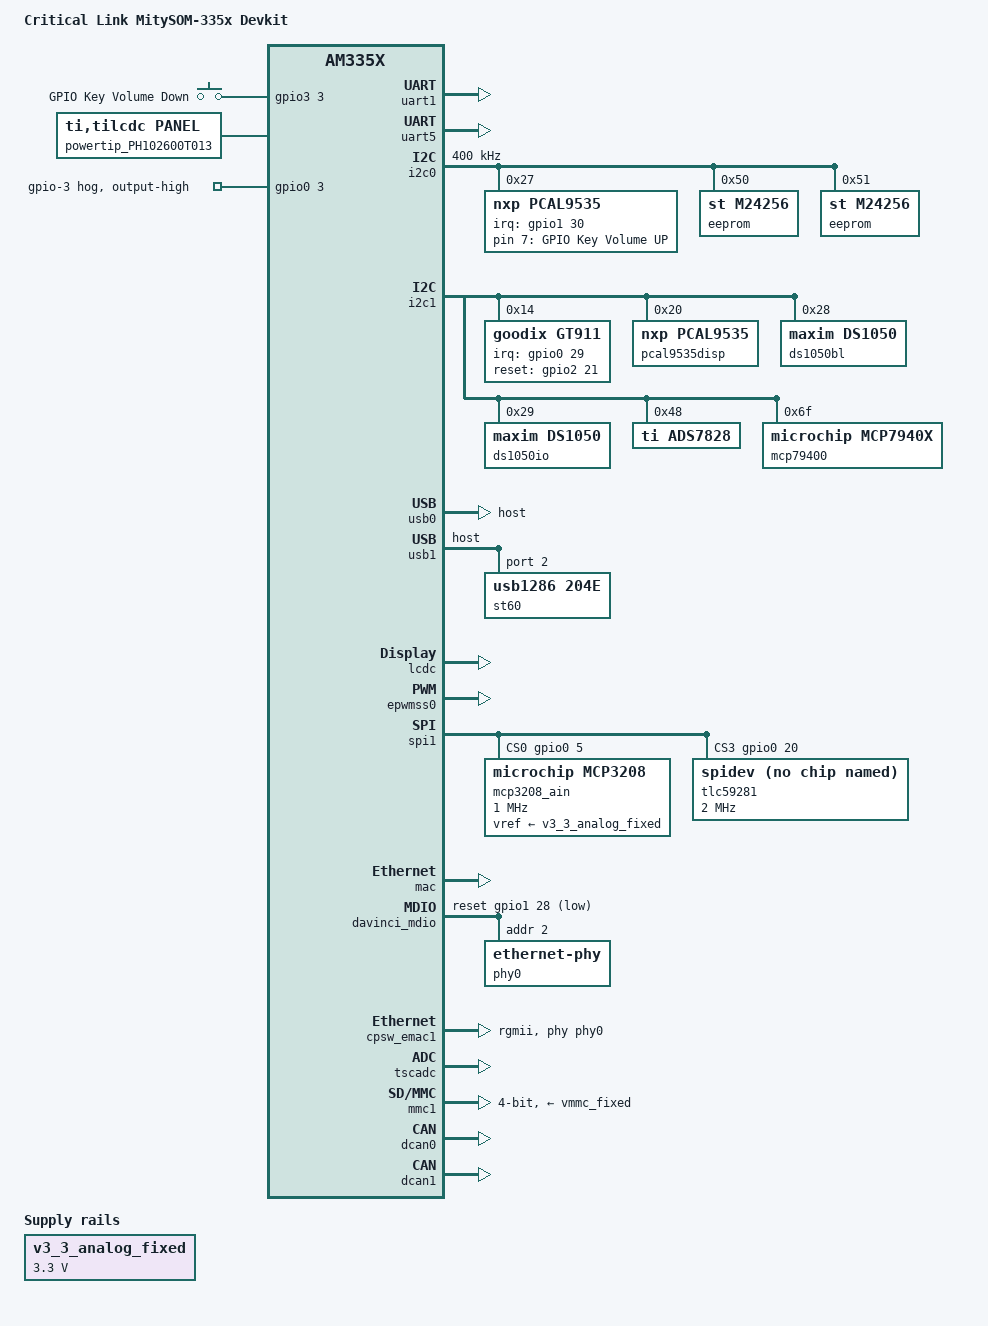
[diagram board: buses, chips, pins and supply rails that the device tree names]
/*
 * Copyright (C) 2012 Texas Instruments Incorporated - http://www.ti.com/
 *
 * This program is free software; you can redistribute it and/or modify
 * it under the terms of the GNU General Public License version 2 as
 * published by the Free Software Foundation.
 */
/dts-v1/;

#include "am335x-mitysom-common.dtsi"

/ {
	model = "Critical Link MitySOM-335x Devkit";

	/* Disable backlight driver, use GPIO Instead
	backlight: backlight {
		compatible = "pwm-backlight";
		pwms = <&ehrpwm0 1 50000 0>;
		brightness-levels = <0 51 53 56 62 75 101 152 255>;
		default-brightness-level = <8>;
	};

	*/

	gpio-keys {
		compatible = "gpio-keys";

		volumedown {
			label = "GPIO Key Volume Down";
			linux,code = <114>; /* KEY_VOLUMEDOWN */
			gpios = <&gpio3 3 GPIO_ACTIVE_HIGH>; /* CLEAR BUTTON */
		};

		volumeup {
			label = "GPIO Key Volume UP";
			linux,code = <115>; /* KEY_VOLUMEUP */
			gpios = <&pcal9535 7 GPIO_ACTIVE_HIGH>; /* Extended P0_7 */
		};
	};

	powertip_PH102600T013: lcd-controller@1 {
		compatible = "ti,tilcdc,panel";
		pinctrl-names = "default", "sleep";
		pinctrl-0 = <&lcd_pins_default>;
		pinctrl-1 = <&lcd_pins_sleep>;
		status = "okay";
		model = "powertip,PH102600T013";

		/*backlight = <&backlight>;*/
		// enable-gpios = <&gpio3 8 GPIO_ACTIVE_HIGH>;

		panel-info {
			ac-bias           = <255>;
			ac-bias-intrpt    = <0>;
			dma-burst-sz      = <16>;
			bpp               = <32>;
			fdd               = <0x80>;
			sync-edge         = <0>;
			sync-ctrl         = <1>;
			raster-order      = <0>;
			fifo-th           = <0>;
			invert-pxl-clk    = <1>;
		};
		display-timings {
			1024x600 {
				clock-frequency = <51200000>;
				hactive = <1024>;
				vactive = <600>;
				hsync-len = <30>;
				hfront-porch = <160>;
				hback-porch = <160>;
				vsync-len = <6>;
				vfront-porch = <12>;
				vback-porch = <23>;
				hsync-active = <1>;
				vsync-active = <1>;
			};
		};
	};
};

&am33xx_pinmux {
	pinctrl-names = "default";
	pinctrl-0 = <&gpio_pins &ehrpwm0_pins &ecap_pins>;

	i2c0_pins: pinmux_i2c0_pins {
		pinctrl-single,pins = <
			AM33XX_IOPAD(0x988, PIN_INPUT_PULLUP | MUX_MODE0)	/* i2c0_sda.i2c0_sda external pullup */
			AM33XX_IOPAD(0x98C, PIN_INPUT_PULLUP | MUX_MODE0)	/* i2c0_scl.i2c0_scl external pullup */
		>;
	};

	dcan0_pins_default: dcan0_pins_default {
		pinctrl-single,pins = <
			AM33XX_IOPAD(0x91C, PIN_OUTPUT | MUX_MODE1) 		/* mii1_txd3.d_can0_tx */
			AM33XX_IOPAD(0x920, PIN_INPUT_PULLDOWN | MUX_MODE1) /* mii1_txd2.d_can1_rxd */
		>;
	};

	dcan1_pins_default: dcan1_pins_default {
		pinctrl-single,pins = <
			AM33XX_IOPAD(0x968, PIN_OUTPUT | MUX_MODE2) 		/* uart0_ctsn.dcan1_txd */
			AM33XX_IOPAD(0x96c, PIN_INPUT_PULLDOWN | MUX_MODE2) /* uart0_rtsn.dcan1_rxd */
		>;
	};

	/* MODBUS 1 */
	uart1_pins: pinmux_uart1_pins {
		pinctrl-single,pins = <
			AM33XX_IOPAD(0x958, PIN_INPUT_PULLDOWN | MUX_MODE7)	/* spi0_d1.gpio0_4 UART1_DIR */
			AM33XX_IOPAD(0x980, PIN_INPUT_PULLUP | MUX_MODE0)	/* uart1_rxd.uart1_rxd UART1_RX */
			AM33XX_IOPAD(0x984, PIN_OUTPUT_PULLDOWN | MUX_MODE0)	/* uart1_txd.uart1_txd UART1_TX */
		>;
	};

	/* MODBUS 2 */
	uart5_pins: pinmux_uart5_pins {
		pinctrl-single,pins = <
			AM33XX_IOPAD(0x928, PIN_INPUT_PULLDOWN | MUX_MODE7)	/* mii1_txd0.gpio0_28 UART5_DIR */
			AM33XX_IOPAD(0x908, PIN_INPUT_PULLUP | MUX_MODE3)	/* mii1_col..uart5_rxd UART4_RXD */
			AM33XX_IOPAD(0x918, PIN_OUTPUT_PULLDOWN | MUX_MODE3)	/* mii1_rxdv.uart5_txd UART4_TXD */
		>;
	};

	ehrpwm0_pins: ehrpwm0_pins {
		pinctrl-single,pins = <
			AM33XX_IOPAD(0x950, PIN_OUTPUT | MUX_MODE3)		/* spi0_sclk.ehrpwm0a Buzzer */
		>;
	};
	
	
	/* Conflicts with SPINOR SOMs */
	spi1_pins: pinmux_spi1_pins {
		pinctrl-single,pins = <
			AM33XX_IOPAD(0x95c, PIN_OUTPUT | MUX_MODE7)		/* spi0_cs0.gpio0_5 SPI1_CS0 external pullup */
			AM33XX_IOPAD(0x990, PIN_INPUT | MUX_MODE3)		/* mcasp0_aclkx.spi1_sclk */
			AM33XX_IOPAD(0x994, PIN_INPUT_PULLUP | MUX_MODE3)	/* mcasp0_fsx.spi1_d0 MOSI */
			AM33XX_IOPAD(0x998, PIN_INPUT | MUX_MODE3)		/* mcasp0_axr0.spi1_d1 MISO external pullup */
			AM33XX_IOPAD(0x99C, PIN_INPUT_PULLUP | MUX_MODE3)	/* mcasp0_ahclkr.spi1_cs0 SOM:CS0 */
			AM33XX_IOPAD(0x9B4, PIN_INPUT | MUX_MODE7)      	/* xdma_event_intr1.gpio0_20 7SEG_CS J16.48 external pullup */
		>;
	};

	cpsw_default: cpsw_default {
		pinctrl-single,pins = <
			/* Slave 1 - Removed in rev 12*/

			/* Slave 2 */
			AM33XX_IOPAD(0x840, PIN_OUTPUT | MUX_MODE2)		/* gpmc_a0.rgmii2_tctl */
			AM33XX_IOPAD(0x844, PIN_INPUT_PULLDOWN | MUX_MODE2)	/* gpmc_a1.rgmii2_rctl */
			AM33XX_IOPAD(0x848, PIN_OUTPUT | MUX_MODE2)		/* gpmc_a2.rgmii2_td3  */
			AM33XX_IOPAD(0x84C, PIN_OUTPUT | MUX_MODE2)		/* gpmc_a3.rgmii2_td2  */
			AM33XX_IOPAD(0x850, PIN_OUTPUT | MUX_MODE2)		/* gpmc_a4.rgmii2_td1  */
			AM33XX_IOPAD(0x854, PIN_OUTPUT | MUX_MODE2)		/* gpmc_a5.rgmii2_td0  */
			AM33XX_IOPAD(0x858, PIN_OUTPUT | MUX_MODE2)		/* gpmc_a6.rgmii2_tclk */
			AM33XX_IOPAD(0x85C, PIN_INPUT_PULLDOWN | MUX_MODE2)	/* gpmc_a7.rgmii2_rclk */
			AM33XX_IOPAD(0x860, PIN_INPUT_PULLDOWN | MUX_MODE2)	/* gpmc_a8.rgmii2_rd3  */
			AM33XX_IOPAD(0x864, PIN_INPUT_PULLDOWN | MUX_MODE2)	/* gpmc_a9.rgmii2_rd2  */
			AM33XX_IOPAD(0x868, PIN_INPUT_PULLDOWN | MUX_MODE2)	/* gpmc_a10.rgmii2_rd1 */
			AM33XX_IOPAD(0x86C, PIN_INPUT_PULLDOWN | MUX_MODE2)	/* gpmc_a11.rgmii2_rd0 */
			AM33XX_IOPAD(0x88c, PIN_INPUT | MUX_MODE7)		/* gpmc_clk.gpio2_1 MII2_PHY_INTN external pullup */
			AM33XX_IOPAD(0x878, PIN_INPUT_PULLUP | MUX_MODE7)	/* gpmc_ben1.gpio1_28 MII2_RESETN */
		>;
	};

	davinci_mdio_default: davinci_mdio_default {
		pinctrl-single,pins = <
			/* MDIO */
			AM33XX_IOPAD(0x948, PIN_INPUT_PULLUP | SLEWCTRL_FAST| MUX_MODE0)	/* mdio_data.mdio_data */
			AM33XX_IOPAD(0x94C, PIN_OUTPUT_PULLUP | MUX_MODE0)			/* mdio_clk.mdio_clk */
		>;
	};

	davinci_mdio_sleep: davinci_mdio_sleep {
		pinctrl-single,pins = <
			/* MDIO reset value */
			AM33XX_IOPAD(0x948, PIN_INPUT_PULLDOWN | MUX_MODE7)
			AM33XX_IOPAD(0x94C, PIN_INPUT_PULLDOWN | MUX_MODE7)
		>;
	};

	/* Setup for MMC0 */
	mmc1_pins_default: pinmux_mmc1_pins {
		pinctrl-single,pins = <
			AM33XX_IOPAD(0x8F0, PIN_INPUT_PULLUP | MUX_MODE0)	/* mmc0_dat3.mmc0_dat3 */
			AM33XX_IOPAD(0x8F4, PIN_INPUT_PULLUP | MUX_MODE0)	/* mmc0_dat2.mmc0_dat2 */
			AM33XX_IOPAD(0x8F8, PIN_INPUT_PULLUP | MUX_MODE0)	/* mmc0_dat1.mmc0_dat1 */
			AM33XX_IOPAD(0x8FC, PIN_INPUT_PULLUP | MUX_MODE0)	/* mmc0_dat0.mmc0_dat0 */
			AM33XX_IOPAD(0x900, PIN_INPUT_PULLUP | MUX_MODE0)	/* mmc0_clk.mmc0_clk */
			AM33XX_IOPAD(0x904, PIN_INPUT_PULLUP | MUX_MODE0)	/* mmc0_cmd.mmc0_cmd */
		>;
	};

	lcd_pins_default: lcd_pins_default {
		pinctrl-single,pins = <
			AM33XX_IOPAD(0x8A0, PIN_OUTPUT | MUX_MODE0)		/* lcd_data0.lcd_data0 */
			AM33XX_IOPAD(0x8A4, PIN_OUTPUT | MUX_MODE0)		/* lcd_data1.lcd_data1 */
			AM33XX_IOPAD(0x8A8, PIN_OUTPUT | MUX_MODE0)		/* lcd_data2.lcd_data2 */
			AM33XX_IOPAD(0x8AC, PIN_OUTPUT | MUX_MODE0)		/* lcd_data3.lcd_data3 */
			AM33XX_IOPAD(0x8B0, PIN_OUTPUT | MUX_MODE0)		/* lcd_data4.lcd_data4 */
			AM33XX_IOPAD(0x8B4, PIN_OUTPUT | MUX_MODE0)		/* lcd_data5.lcd_data5 */
			AM33XX_IOPAD(0x8B8, PIN_OUTPUT | MUX_MODE0)		/* lcd_data6.lcd_data6 */
			AM33XX_IOPAD(0x8BC, PIN_OUTPUT | MUX_MODE0)		/* lcd_data7.lcd_data7 */
			AM33XX_IOPAD(0x8C0, PIN_OUTPUT | MUX_MODE0)		/* lcd_data8.lcd_data8 */
			AM33XX_IOPAD(0x8C4, PIN_OUTPUT | MUX_MODE0)		/* lcd_data9.lcd_data9 */
			AM33XX_IOPAD(0x8C8, PIN_OUTPUT | MUX_MODE0)		/* lcd_data10.lcd_data10 */
			AM33XX_IOPAD(0x8CC, PIN_OUTPUT | MUX_MODE0)		/* lcd_data11.lcd_data11 */
			AM33XX_IOPAD(0x8D0, PIN_OUTPUT | MUX_MODE0)		/* lcd_data12.lcd_data12 */
			AM33XX_IOPAD(0x8D4, PIN_OUTPUT | MUX_MODE0)		/* lcd_data13.lcd_data13 */
			AM33XX_IOPAD(0x8D8, PIN_OUTPUT | MUX_MODE0)		/* lcd_data14.lcd_data14 */
			AM33XX_IOPAD(0x8DC, PIN_OUTPUT | MUX_MODE0)		/* lcd_data15.lcd_data15 */
			AM33XX_IOPAD(0x820, PIN_OUTPUT | MUX_MODE1)		/* gpmc_ad8.lcd_data16 */
			AM33XX_IOPAD(0x824, PIN_OUTPUT | MUX_MODE1)		/* gpmc_ad9.lcd_data17 */
			AM33XX_IOPAD(0x828, PIN_OUTPUT | MUX_MODE1)		/* gpmc_ad10.lcd_data18 */
			AM33XX_IOPAD(0x82C, PIN_OUTPUT | MUX_MODE1)		/* gpmc_ad11.lcd_data19 */
			AM33XX_IOPAD(0x830, PIN_OUTPUT | MUX_MODE1)		/* gpmc_ad12.lcd_data20 */
			AM33XX_IOPAD(0x834, PIN_OUTPUT | MUX_MODE1)		/* gpmc_ad13.lcd_data21 */
			AM33XX_IOPAD(0x838, PIN_OUTPUT | MUX_MODE1)		/* gpmc_ad14.lcd_data22 */
			AM33XX_IOPAD(0x83C, PIN_OUTPUT | MUX_MODE1)		/* gpmc_ad15.lcd_data23 */
			AM33XX_IOPAD(0x8E0, PIN_OUTPUT_PULLDOWN | MUX_MODE0)	/* lcd_vsync.lcd_vsync */
			AM33XX_IOPAD(0x8E4, PIN_OUTPUT_PULLDOWN | MUX_MODE0)	/* lcd_hsync.lcd_hsync */
			AM33XX_IOPAD(0x8E8, PIN_OUTPUT_PULLDOWN | MUX_MODE0)	/* lcd_pclk.lcd_pclk */
			AM33XX_IOPAD(0x8EC, PIN_OUTPUT_PULLDOWN | MUX_MODE0)	/* lcd_ac_bias_en.lcd_ac_bias_en */
		>;
	};

	lcd_pins_sleep: lcd_pins_sleep {
		pinctrl-single,pins = <
			AM33XX_IOPAD(0x8A0, PULL_DISABLE | MUX_MODE7)		/* lcd_data0.lcd_data0 */
			AM33XX_IOPAD(0x8A4, PULL_DISABLE | MUX_MODE7)		/* lcd_data1.lcd_data1 */
			AM33XX_IOPAD(0x8A8, PULL_DISABLE | MUX_MODE7)		/* lcd_data2.lcd_data2 */
			AM33XX_IOPAD(0x8AC, PULL_DISABLE | MUX_MODE7)		/* lcd_data3.lcd_data3 */
			AM33XX_IOPAD(0x8B0, PULL_DISABLE | MUX_MODE7)		/* lcd_data4.lcd_data4 */
			AM33XX_IOPAD(0x8B4, PULL_DISABLE | MUX_MODE7)		/* lcd_data5.lcd_data5 */
			AM33XX_IOPAD(0x8B8, PULL_DISABLE | MUX_MODE7)		/* lcd_data6.lcd_data6 */
			AM33XX_IOPAD(0x8BC, PULL_DISABLE | MUX_MODE7)		/* lcd_data7.lcd_data7 */
			AM33XX_IOPAD(0x8C0, PULL_DISABLE | MUX_MODE7)		/* lcd_data8.lcd_data8 */
			AM33XX_IOPAD(0x8C4, PULL_DISABLE | MUX_MODE7)		/* lcd_data9.lcd_data9 */
			AM33XX_IOPAD(0x8C8, PULL_DISABLE | MUX_MODE7)		/* lcd_data10.lcd_data10 */
			AM33XX_IOPAD(0x8CC, PULL_DISABLE | MUX_MODE7)		/* lcd_data11.lcd_data11 */
			AM33XX_IOPAD(0x8D0, PULL_DISABLE | MUX_MODE7)		/* lcd_data12.lcd_data12 */
			AM33XX_IOPAD(0x8D4, PULL_DISABLE | MUX_MODE7)		/* lcd_data13.lcd_data13 */
			AM33XX_IOPAD(0x8D8, PULL_DISABLE | MUX_MODE7)		/* lcd_data14.lcd_data14 */
			AM33XX_IOPAD(0x8DC, PULL_DISABLE | MUX_MODE7)		/* lcd_data15.lcd_data15 */
			AM33XX_IOPAD(0x820, PULL_DISABLE | MUX_MODE7)		/* gpmc_ad8.lcd_data16 */
			AM33XX_IOPAD(0x824, PULL_DISABLE | MUX_MODE7)		/* gpmc_ad9.lcd_data17 */
			AM33XX_IOPAD(0x828, PULL_DISABLE | MUX_MODE7)		/* gpmc_ad10.lcd_data18 */
			AM33XX_IOPAD(0x82C, PULL_DISABLE | MUX_MODE7)		/* gpmc_ad11.lcd_data19 */
			AM33XX_IOPAD(0x830, PULL_DISABLE | MUX_MODE7)		/* gpmc_ad12.lcd_data20 */
			AM33XX_IOPAD(0x834, PULL_DISABLE | MUX_MODE7)		/* gpmc_ad13.lcd_data21 */
			AM33XX_IOPAD(0x838, PULL_DISABLE | MUX_MODE7)		/* gpmc_ad14.lcd_data22 */
			AM33XX_IOPAD(0x83C, PULL_DISABLE | MUX_MODE7)		/* gpmc_ad15.lcd_data23 */
			AM33XX_IOPAD(0x8E0, PIN_INPUT_PULLDOWN | MUX_MODE7)	/* lcd_vsync.lcd_vsync */
			AM33XX_IOPAD(0x8E4, PIN_INPUT_PULLDOWN | MUX_MODE7)	/* lcd_hsync.lcd_hsync */
			AM33XX_IOPAD(0x8E8, PIN_INPUT_PULLDOWN | MUX_MODE7)	/* lcd_pclk.lcd_pclk */
			AM33XX_IOPAD(0x8EC, PIN_INPUT_PULLDOWN | MUX_MODE7)	/* lcd_ac_bias_en.lcd_ac_bias_en */
		>;
	};

	ecap_pins: ecap_pins {
		pinctrl-single,pins = <
			AM33XX_IOPAD(0x964, PIN_INPUT | MUX_MODE0)		/* ecap0_in_pwm0_out.ecap0_in_pwm0_out ECAP J11.6 external pulldown*/
		>;
	};

	gpio_pins: gpio_pins {
		pinctrl-single,pins = <
			AM33XX_IOPAD(0x880, PIN_INPUT_PULLUP | MUX_MODE7)              /* gpmc_csn1.gpio1_30 IO_Expand_INTn external pullup */
			AM33XX_IOPAD(0x914, PIN_INPUT_PULLUP | MUX_MODE7)		/* rmii1_txen.gpio3_3 CLEAR_Button  external pullup */
			AM33XX_IOPAD(0x924, PIN_INPUT_PULLDOWN | MUX_MODE7)		/* rmii1_txd1.gpio0_21 J19.8 */
			AM33XX_IOPAD(0x92C, PIN_INPUT_PULLDOWN | MUX_MODE7)		/* rmii1_txclk.gpio3_9 PROXIMITY */
			AM33XX_IOPAD(0x930, PIN_INPUT_PULLDOWN | MUX_MODE7)		/* rmii1_rxclk.gpio3_10 J19.5 */
			AM33XX_IOPAD(0x934, PIN_INPUT_PULLDOWN | MUX_MODE7)		/* rmii1_rxd3.gpio2_18 J19.7 */
			AM33XX_IOPAD(0x944, PIN_INPUT | MUX_MODE7)		/* rmii1_refclk.gpio0_29 TS_INT external pullup */
			AM33XX_IOPAD(0x960, PIN_INPUT | MUX_MODE7)		/* spi0_cs1.gpio0_6 Brown_Out */
			AM33XX_IOPAD(0x9A0, PIN_INPUT_PULLDOWN | MUX_MODE7)	/* mcasp0_aclkr.gpio3_18 RTD_A1 */
			AM33XX_IOPAD(0x9A4, PIN_INPUT_PULLDOWN | MUX_MODE7) 	/* mcasp0_fsr.gpio3_19 RTD_A0 */
			AM33XX_IOPAD(0x9A8, PIN_INPUT_PULLDOWN | MUX_MODE7) 	/* mcasp0_axr1.gpio3_20 RTD_A3 */
			AM33XX_IOPAD(0x9AC, PIN_INPUT_PULLDOWN | MUX_MODE7) 	/* mcasp0_ahclkx.gpio3_21 RTD_A2 */
			AM33XX_IOPAD(0x9B0, PIN_INPUT_PULLDOWN | MUX_MODE7) 	/* xdma_event_intr0.gpio0_19 7SEG_OFF J16.47 */
			AM33XX_IOPAD(0x9E4, PIN_INPUT_PULLDOWN | MUX_MODE7)		/* emu0.gpio3_7 J19.9 */
			AM33XX_IOPAD(0x9E8, PIN_INPUT_PULLDOWN | MUX_MODE7)		/* emu1.gpio3_8 J19.6 */
			AM33XX_IOPAD(0x940, PIN_INPUT | MUX_MODE7)		/* mii1_rxd0.gpio2_21 TOUCH_RESET J16.30 */
			AM33XX_IOPAD(0xA1C, PIN_INPUT | MUX_MODE7)		/* usb0_drvvbus.gpio0_18 Hub_Reset external pullup */
			AM33XX_IOPAD(0xA34, PIN_INPUT | MUX_MODE7)		/* usb1_drvvbus.gpio3_13 WIFI_PMU external pullup */
		>;
	};
};

/* Name the gpios so they can be referenced by name */
&gpio0 {
	gpio-line-names =
		"GPIO0_0", "GPIO0_1", "GPIO0_2", "BACKLIGHT",
		"GPIO0_4", "GPIO0_5", "BROWN_OUT", "GPIO0_7",
		"GPIO0_8", "GPIO0_9", "GPIO0_10", "GPIO0_11",
		"GPIO0_12", "GPIO0_13", "GPIO0_14", "GPIO0_15",
		"GPIO0_16", "GPIO0_17", "HUB_RESET", "7SEG_EN",
		"GPIO0_20", "GPIO0_21", "GPIO0_22", "GPIO0_23",
		"GPIO0_24", "GPIO0_25", "GPIO0_26", "GPIO0_27",
		"GPIO0_28", "GPIO0_29", "GPIO0_30", "GPIO0_31";
	gpio-3 {
		gpio-hog;
		gpios = <3 GPIO_ACTIVE_HIGH>;
		output-high;
	};
};

&gpio1 {
	gpio-line-names =
		"GPIO1_0", "GPIO1_1", "GPIO1_2", "GPIO1_3",
		"GPIO1_4", "GPIO1_5", "GPIO1_6", "GPIO1_7",
		"GPIO1_8", "GPIO1_9", "GPIO1_10", "GPIO1_11",
		"GPIO1_12", "GPIO1_13", "GPIO1_14", "GPIO1_15",
		"GPIO1_16", "GPIO1_17", "GPIO1_18", "GPIO1_19",
		"GPIO1_20", "GPIO1_21", "GPIO1_22", "GPIO1_23",
		"GPIO1_24", "GPIO1_25", "GPIO1_26", "GPIO1_27",
		"GPIO1_28", "GPIO1_29", "GPIO1_30", "GPIO1_31";
};

&gpio2 {
	gpio-line-names =
		"GPIO2_0", "GPIO2_1", "GPIO2_2", "GPIO2_3",
		"GPIO2_4", "GPIO2_5", "GPIO2_6", "GPIO2_7",
		"GPIO2_8", "GPIO2_9", "GPIO2_10", "GPIO2_11",
		"GPIO2_12", "GPIO2_13", "GPIO2_14", "GPIO2_15",
		"GPIO2_16", "GPIO2_17", "Aux_PWM_Enable", "GPIO2_19",
		"GPIO2_20", "GPIO2_21", "GPIO2_22", "GPIO2_23",
		"GPIO2_24", "GPIO2_25", "GPIO2_26", "GPIO2_27",
		"GPIO2_28", "GPIO2_29", "GPIO2_30", "GPIO2_31";
};

&gpio3 {
	gpio-line-names =
		"GPIO3_0", "GPIO3_1", "GPIO3_2", "CLEAR_BUTTON",
		"GPIO3_4", "GPIO3_5", "GPIO3_6", "POWER_SWITCH_N",
		"GPIO3_8", "GPIO3_9", "GPIO3_10", "GPIO3_11",
		"GPIO3_12", "WIFI_PMU", "GPIO3_14", "GPIO3_15",
		"GPIO3_16", "GPIO3_17", "RTD_A1", "RTD_A0",
		"RTD_A3", "RTD_A2", "GPIO3_22", "GPIO3_23",
		"GPIO3_24", "GPIO3_25", "GPIO3_26", "GPIO3_27",
		"GPIO3_28", "GPIO3_29", "GPIO3_30", "GPIO3_31";
};


/* RS485 MODBUS 1 */
&uart1 {
	pinctrl-names = "default";
	pinctrl-0 = <&uart1_pins>;
	rts-gpio = <&gpio0 4 GPIO_ACTIVE_HIGH>;
	rs485-rts-delay =<0 0>;
	rs485-rts-active-high;
	/*rs485-rx-during-tx;*/
	linux,rs485-enabled-at-boot-time;
	status = "okay";
};

/* RS485 MODBUS 2 */
&uart5 {
	pinctrl-names = "default";
	pinctrl-0 = <&uart5_pins>;
	rts-gpio = <&gpio0 28 GPIO_ACTIVE_HIGH>;
	rs485-rts-delay =<0 0>;
	rs485-rts-active-high;
	/*rs485-rx-during-tx;*/
	linux,rs485-enabled-at-boot-time;
	status = "okay";
};


&i2c0 {
	pinctrl-names = "default";
	pinctrl-0 = <&i2c0_pins>;

	status = "okay";
	clock-frequency = <400000>;

	/* PCAL9535A 16-bit GPIO expander 0x27 */
	pcal9535: pcal9535@27 {
		compatible = "nxp,pcal9535";
		reg = <0x27>;
		gpio-controller;
		interrupt-parent = <&gpio1>;
		interrupts = <30 IRQ_TYPE_EDGE_FALLING>; /* gpio1_30 */
		#interrupt-cells = <2>;
		#gpio-cells = <2>;
		gpio-line-names =
		"RELAY_0", "RELAY_1", "RELAY_2", "RELAY_3",
		"DIGITAL_IN_8", "DIGITAL_IN_7", "DIGITAL_IN_6", "DIGITAL_IN_5",
		"OVERTEMP_IN", "ENABLE/DISABLE", "DIGITAL_IN_4", "DIGITAL_IN_3",
		"DIGITAL_IN_2", "DIGITAL_IN_1", "RELAY_4", "RELAY_5";
	};

	/* ADS1110 - 16-Bit ADC RTD_IN 0x4A */

	eeprom@50 {
		compatible = "st,m24256", "st,24c256", "atmel,24c256";
		reg = <0x50>;
		pagesize = <64>;
	};

	eeprom@51 {
		compatible = "st,m24256", "st,24c256", "atmel,24c256";
		reg = <0x51>;
		pagesize = <64>;
	};

	/* MCP4728 12-bit Quad DAC 0x60 */
};

&i2c1 {
	/* SOM PMIC SmartReflex 0x12 */

	/* GT911 TSC 0x14 */
	gt911@14 {
		compatible = "goodix,gt911";
		reg = <0x14>;
		interrupt-parent = <&gpio0>;
		interrupts = <29 IRQ_TYPE_EDGE_FALLING>;

		irq-gpios = <&gpio0 29 GPIO_ACTIVE_HIGH>;
		reset-gpios = <&gpio2 21 GPIO_ACTIVE_HIGH>;
		// touchscreen-swapped-x-y;
	};

	/* Display Board PCAL9535A 16-bit GPIO expander 0x20 */
	pcal9535disp: pcal9535disp@20 {
		compatible = "nxp,pcal9535";
		reg = <0x20>;
		gpio-controller;
		#gpio-cells = <2>;
		gpio-line-names =
		"", "", "", "",
		"", "", "", "",
		"", "", "DEMAND", "MANAGER",
		"CASCADE", "BAS", "onAER", "FAULT CLR";
	};

	/* Backlight PWM */
	ds1050bl: ds1050z@28 {
		compatible = "maxim,ds1050";
		reg = <0x28>;
	};

	/* IO PWM */
	ds1050io: ds1050z@29 {
		/* GPIO 2_18 Aux_PWM_Enable */
		compatible = "maxim,ds1050";
		reg = <0x29>;
	};


	/* System Voltage Monitor 0x48 */
	ads7828: ads7828@48 {
		compatible = "ti,ads7828";
		reg = <0x48>;
	};

	/* SOM Factory EEPROM 0x50 - 0x57 */

	/* MCP7940N RTC 0x6F */
	mcp79400: mcp79400@6f {
		compatible = "microchip,mcp7940x";
		reg = <0x6f>;
	};

	/* MCP4728 12-bit Quad DAC 0x60 */
};

&usb0 {
	status = "okay";
	dr_mode = "host";
};

&usb1 {
	status = "okay";
	dr_mode = "host";

	/* Laird Wifi */
	st60@2{
		compatible = "usb1286,204e";
		reg = <2>;
		#address-cells = <2>;
		#size-cells = <0>;

		wifi@2 {
			compatible = "usbif1286,204e.config1.2";
			reg = <2 1>;
			pmu-en-gpios = <&gpio3 13 GPIO_ACTIVE_HIGH>;
		};
	};
};

&lcdc {
	status = "okay";

	/* If you want to get 24 bit RGB and 16 BGR mode instead of
	 * current 16 bit RGB and 24 BGR modes, set the propety
	 * below to "crossed" and uncomment the video-ports -property
	 * in tda19988 node.
	 * AM335x errata for wiring:
	 * http://www.ti.com/lit/er/sprz360i/sprz360i.pdf
	 */

	blue-and-red-wiring = "crossed";
};

&epwmss0 {
	status = "okay";

	ehrpwm0: pwm@48300200 {
		status = "okay";
	};
	ecap0: ecap@48300100 {
		compatible = "ti,am62-ecap-capture";
		status = "okay";
	};
};

/ {
	v3_3_analog_fixed: fixedregulator@2 {
		compatible = "regulator-fixed";
		regulator-name = "v3.3_analog_fixed";
		regulator-min-microvolt = <3300000>;
		regulator-max-microvolt = <3300000>;
		regulator-boot-on;
	};
};

&spi1 {
	pinctrl-names = "default";
	pinctrl-0 = <&spi1_pins>;
	/* Not supported: CS0 On-SOM NOR */

	/* Note: spi1 crashes when using more than 4 channels */
	cs-gpios = <&gpio0 5 GPIO_ACTIVE_HIGH>, <0>, <0>, <&gpio0 20 GPIO_ACTIVE_HIGH>;

	/* SPI1_CS0 - gpio1_15 MCP3208 */
	mcp3208_ain@0 {
		compatible = "microchip,mcp3208";
		reg = <0>;
		spi-max-frequency = <1000000>;
		vref-supply = <&v3_3_analog_fixed>;

		/* channels = "AIN1", "AIN2", "AIN3", "AIN4"; */
	};

	/* 7SEG_CS - gpio0_20 */
	tlc59281: tlc59281@3 {
		compatible = "spidev";
		reg = <3>;
		status = "okay";

		spi-max-frequency = <2000000>;
	};
};

&mac {
	pinctrl-names = "default";
	pinctrl-0 = <&cpsw_default>;
	status = "okay";
};

&davinci_mdio {
	pinctrl-names = "default", "sleep";
	pinctrl-0 = <&davinci_mdio_default>;
	pinctrl-1 = <&davinci_mdio_sleep>;
	status = "okay";

	reset-gpios = <&gpio1 28 GPIO_ACTIVE_LOW>;
	reset-delay-us = <2>;

	phy0: ethernet-phy@2 {
		reg = <2>;
	};
};

&cpsw_emac1 {
	phy-handle = <&phy0>;
	phy-mode = "rgmii";
	dual_emac_res_vlan = <1>;
};


/* ADC */
&tscadc {
	status = "okay";
	/* XR, YD, XL, YI, GND, 3.3V/2, 3.3V/2, GND */
	// tsc {
	// 	ti,wires = <4>;
	// 	ti,x-plate-resistance = <200>;
	// 	ti,coordinate-readouts = <5>;
	// 	ti,wire-config = <0x00 0x11 0x22 0x33>;
	// 	ti,charge-delay = <0x400>;
	// };

	adc {
		ti,adc-channels = <5 6>;
	};
};

&mmc1 {
	pinctrl-names = "default";
	pinctrl-0 = <&mmc1_pins_default>;
	status = "okay";
	vmmc-supply = <&vmmc_fixed>;
	bus-width = <4>;
};

&dcan0 {
	status = "okay";
	pinctrl-names = "default";
	pinctrl-0 = <&dcan0_pins_default>;
};

&dcan1 {
	status = "okay";
	pinctrl-names = "default";
	pinctrl-0 = <&dcan1_pins_default>;
};


&rtc {
	system-power-controller;
};

